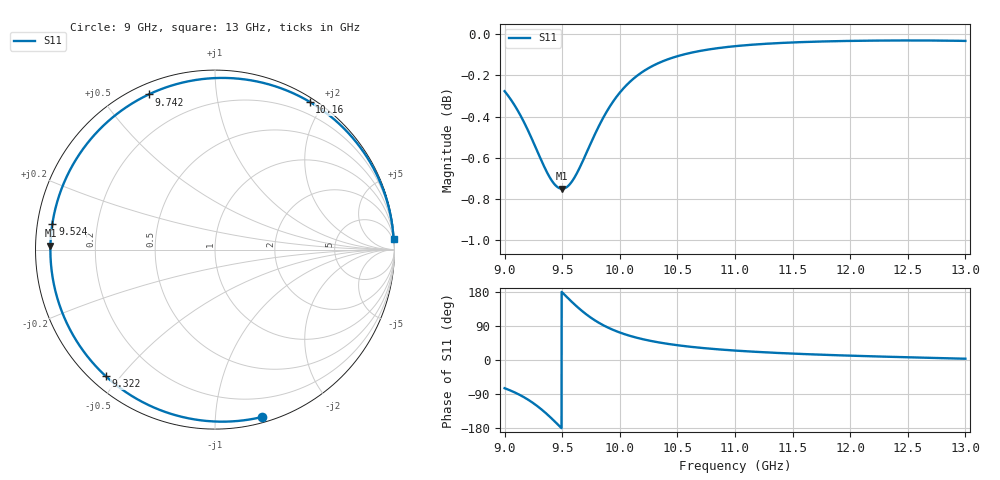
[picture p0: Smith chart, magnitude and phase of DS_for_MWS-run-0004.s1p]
! TOUCHSTONE file generated by CST DESIGN STUDIO
! Date and time: Wed Feb  5 13:42:18 2025
! Project name: C:\Work\MatlabApps\UnitCellOptimizationMatlab\CST\unitcell.cst
! Tree item: Tasks\Sweep1\SPara1\S-Parameters
! Header version: 2024
! Port assignment regex: !\s*Touchstone port\s*([0-9]+)\s*=\s*(CST MWS port|CST DES external port|CST DES block port)\s*(.+)\s* \(\"(.*)\"\)(\s*mode\s*([0-9]+))?.*
! Touchstone port assignment:
! Touchstone port 1 = CST DES external port 1 ("")
# GHz S MA R 50
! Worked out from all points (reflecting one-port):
!   4001 points, 9 GHz to 13 GHz, reference 50 ohm
!   lowest |S11| = -0.8 dB at 9.499 GHz (marker M1), VSWR 23.15, Z = 2.16 + j0.605 ohm
!   phase of S11 starts at -74 deg and turns -282 deg over the sweep
!   S11 on the Smith chart (normalised r, x): 9 GHz: 0.04, -1.32; 9.322 GHz: 0.04, -0.46; 9.524 GHz: 0.04, +0.08; 9.742 GHz: 0.04, +0.66; 10.16 GHz: 0.05, +1.83; 13 GHz: 2, +34
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9  0.9687 -74.4
9.084  0.9613 -85.0
9.185  0.95 -101.2
9.256  0.9405 -115.4
9.322  0.9315 -130.9
9.369  0.9256 -143.2
9.419  0.9206 -157.4
9.46  0.918 -169.6
9.499  0.9172 178.6
9.5  0.9172 178.3
9.524  0.9175 171.0
9.577  0.9203 155.3
9.637  0.9263 138.5
9.689  0.9329 125.2
9.742  0.9401 113.1
9.795  0.947 102.5
9.853  0.954 92.3
9.926  0.9616 81.6
10  0.9679 72.5
10.165  0.9778 57.4
10.317  0.9835 47.6
10.5  0.9878 39.0
10.722  0.991 31.5
11  0.9934 24.9
11.5  0.9955 16.9
12  0.9963 11.4
12.5  0.9966 7.2
13  0.9963 3.4
